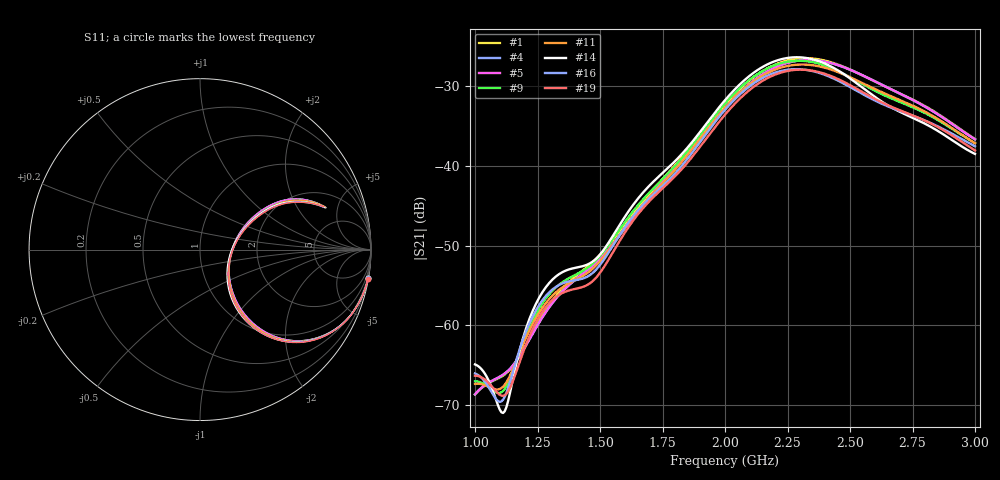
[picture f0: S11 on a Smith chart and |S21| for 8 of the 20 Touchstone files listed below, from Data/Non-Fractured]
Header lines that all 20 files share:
! TOUCHSTONE file generated by CST MICROWAVE STUDIO
! Project name: non_fractured.cst
! Header version: 2024
! Port assignment regex: !\s*Touchstone port\s*([0-9]+)\s*=\s*(CST MWS port|CST DES external port|CST DES block port)\s*(.+)\s* \(\"(.*)\"\)(\s*mode\s*([0-9]+))?.*
! Touchstone port assignment:
! Touchstone port 1 = CST MWS port 1 ("")
! Touchstone port 2 = CST MWS port 2 ("")
# GHz S DB R 50
Fixed: B = 2.5, D = 160, Feed = 2.85625, L = 100, M = 20, R = 0.384908, length = 57.125, wave = 114.25
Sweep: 1 GHz to 3 GHz
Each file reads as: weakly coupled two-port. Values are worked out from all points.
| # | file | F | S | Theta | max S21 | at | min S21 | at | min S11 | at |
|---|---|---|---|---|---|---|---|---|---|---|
| 1 | non_fractured_201.s2p | 15 | 2 | 0 | -26.49 dB | 2.322 GHz | -68.7 dB | 1 GHz | -14.9 dB | 2.375 GHz |
| 2 | non_fractured_202.s2p | 15 | 2 | 90 | -26.49 dB | 2.322 GHz | -68.7 dB | 1 GHz | -14.9 dB | 2.375 GHz |
| 3 | non_fractured_204.s2p | 15 | 2 | 270 | -26.49 dB | 2.322 GHz | -68.7 dB | 1 GHz | -14.9 dB | 2.375 GHz |
| 4 | non_fractured_205.s2p | 15 | 2.5 | 0 | -26.72 dB | 2.333 GHz | -68.6 dB | 1 GHz | -14.8 dB | 2.373 GHz |
| 5 | non_fractured_206.s2p | 15 | 2.5 | 90 | -26.72 dB | 2.333 GHz | -68.7 dB | 1 GHz | -14.8 dB | 2.373 GHz |
| 6 | non_fractured_207.s2p | 15 | 2.5 | 180 | -26.72 dB | 2.333 GHz | -68.7 dB | 1 GHz | -14.8 dB | 2.373 GHz |
| 7 | non_fractured_208.s2p | 15 | 2.5 | 270 | -26.72 dB | 2.333 GHz | -68.6 dB | 1 GHz | -14.8 dB | 2.373 GHz |
| 8 | non_fractured_209.s2p | 20 | 1 | 0 | -25.06 dB | 2.3 GHz | -68.4 dB | 1.079 GHz | -15.1 dB | 2.36 GHz |
| 9 | non_fractured_213.s2p | 20 | 1.5 | 0 | -26.82 dB | 2.296 GHz | -68.5 dB | 1.092 GHz | -14.8 dB | 2.362 GHz |
| 10 | non_fractured_215.s2p | 20 | 1.5 | 180 | -26.82 dB | 2.296 GHz | -68.5 dB | 1.092 GHz | -14.8 dB | 2.362 GHz |
| 11 | non_fractured_217.s2p | 20 | 2 | 0 | -27.29 dB | 2.307 GHz | -68.0 dB | 1.086 GHz | -14.6 dB | 2.366 GHz |
| 12 | non_fractured_218.s2p | 20 | 2 | 90 | -27.29 dB | 2.307 GHz | -68.0 dB | 1.086 GHz | -14.6 dB | 2.366 GHz |
| 13 | non_fractured_221.s2p | 20 | 2.5 | 0 | -27.31 dB | 2.316 GHz | -67.7 dB | 1 GHz | -14.6 dB | 2.362 GHz |
| 14 | non_fractured_225.s2p | 25 | 1 | 0 | -26.38 dB | 2.287 GHz | -71.0 dB | 1.112 GHz | -15.0 dB | 2.353 GHz |
| 15 | non_fractured_227.s2p | 25 | 1 | 180 | -26.38 dB | 2.287 GHz | -71.0 dB | 1.112 GHz | -15.0 dB | 2.353 GHz |
| 16 | non_fractured_229.s2p | 25 | 1.5 | 0 | -27.87 dB | 2.285 GHz | -69.6 dB | 1.099 GHz | -14.7 dB | 2.358 GHz |
| 17 | non_fractured_233.s2p | 25 | 2 | 0 | -28.08 dB | 2.303 GHz | -67.9 dB | 1.092 GHz | -14.7 dB | 2.362 GHz |
| 18 | non_fractured_235.s2p | 25 | 2 | 180 | -28.08 dB | 2.303 GHz | -67.9 dB | 1.092 GHz | -14.7 dB | 2.362 GHz |
| 19 | non_fractured_237.s2p | 25 | 2.5 | 0 | -27.94 dB | 2.3 GHz | -68.8 dB | 1.112 GHz | -14.8 dB | 2.353 GHz |
| 20 | non_fractured_240.s2p | 25 | 2.5 | 270 | -27.94 dB | 2.3 GHz | -68.8 dB | 1.112 GHz | -14.8 dB | 2.353 GHz |
